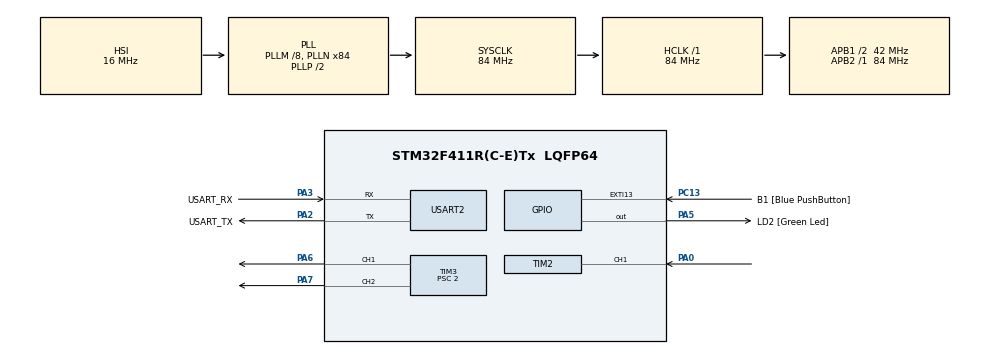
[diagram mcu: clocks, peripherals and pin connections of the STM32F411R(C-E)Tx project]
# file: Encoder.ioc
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Mcu.Family=STM32F4
Mcu.Name=STM32F411R(C-E)Tx
Mcu.Package=LQFP64
NVIC.PriorityGroup=NVIC_PRIORITYGROUP_0
NVIC.TIM1_UP_TIM10_IRQn=true\:0\:0\:false\:false\:true\:true\:true\:true
NVIC.TIM2_IRQn=true\:0\:0\:false\:false\:true\:true\:true\:true
NVIC.USART2_IRQn=true\:0\:0\:false\:false\:true\:true\:true\:true
PA0-WKUP.Signal=S_TIM2_CH1_ETR
PA13.GPIO_Label=TMS
PA13.Mode=Serial_Wire
PA13.Signal=SYS_JTMS-SWDIO
PA14.GPIO_Label=TCK
PA14.Mode=Serial_Wire
PA14.Signal=SYS_JTCK-SWCLK
PA2.GPIO_Label=USART_TX
PA2.Mode=Asynchronous
PA2.Signal=USART2_TX
PA3.GPIO_Label=USART_RX
PA3.Mode=Asynchronous
PA3.Signal=USART2_RX
PA5.GPIO_Label=LD2 [Green Led]
PA5.Signal=GPIO_Output
PA6.Signal=S_TIM3_CH1
PA7.Signal=S_TIM3_CH2
PB3.GPIO_Label=SWO
PB3.Signal=SYS_JTDO-SWO
PC13-ANTI_TAMP.GPIO_Label=B1 [Blue PushButton]
PC13-ANTI_TAMP.GPIO_ModeDefaultEXTI=GPIO_MODE_IT_FALLING
PC13-ANTI_TAMP.Signal=GPXTI13
PC14-OSC32_IN.Mode=LSE-External-Oscillator
PC14-OSC32_IN.Signal=RCC_OSC32_IN
PC15-OSC32_OUT.Mode=LSE-External-Oscillator
PC15-OSC32_OUT.Signal=RCC_OSC32_OUT
PH0\ -\ OSC_IN.Mode=HSE-External-Clock-Source
PH0\ -\ OSC_IN.Signal=RCC_OSC_IN
PH1\ -\ OSC_OUT.Mode=HSE-External-Clock-Source
PH1\ -\ OSC_OUT.Signal=RCC_OSC_OUT
ProjectManager.HeapSize=0x200
ProjectManager.StackSize=0x400
ProjectManager.TargetToolchain=STM32CubeIDE
RCC.48MHZClocksFreq_Value=42000000
RCC.AHBFreq_Value=84000000
RCC.APB1CLKDivider=RCC_HCLK_DIV2
RCC.APB1Freq_Value=42000000
RCC.APB1TimFreq_Value=84000000
RCC.APB2Freq_Value=84000000
RCC.APB2TimFreq_Value=84000000
RCC.CortexFreq_Value=84000000
RCC.FLatency-AdvancedSettings=FLASH_LATENCY_2
RCC.HCLKFreq_Value=84000000
RCC.HSE_VALUE=8000000
RCC.HSI_VALUE=16000000
RCC.PLLM=8
RCC.PLLN=84
RCC.SYSCLKFreq_VALUE=84000000
RCC.SYSCLKSource=RCC_SYSCLKSOURCE_PLLCLK
RCC.VCOOutputFreq_Value=168000000
SH.S_TIM2_CH1_ETR.0=TIM2_CH1,Input_Capture1_from_TI1
SH.S_TIM3_CH1.0=TIM3_CH1,PWM Generation1 CH1
SH.S_TIM3_CH2.0=TIM3_CH2,PWM Generation2 CH2
TIM10.Period=(10000-1)
TIM10.Prescaler=(8400-1)
TIM2.Channel-Input_Capture1_from_TI1=TIM_CHANNEL_1
TIM2.ClockDivision=TIM_CLOCKDIVISION_DIV4
TIM2.ICFilter_CH1=0
TIM2.ICPolarity_CH1=TIM_INPUTCHANNELPOLARITY_RISING
TIM2.Period=4294967295
TIM2.Prescaler=83
TIM3.Channel-PWM\ Generation1\ CH1=TIM_CHANNEL_1
TIM3.Channel-PWM\ Generation2\ CH2=TIM_CHANNEL_2
TIM3.Period=4096
TIM3.Prescaler=2
TIM3.Pulse-PWM\ Generation1\ CH1=0
USART2.VirtualMode=VM_ASYNC
VP_TIM10_VS_ClockSourceINT.Mode=Enable_Timer
VP_TIM2_VS_ClockSourceINT.Mode=Internal
VP_TIM3_VS_ClockSourceINT.Mode=Internal
board=NUCLEO-F411RE

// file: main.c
/* USER CODE BEGIN Header */
/**
 ******************************************************************************
 * @file           : main.c
 * @brief          : Main program body
 ******************************************************************************
 * @attention
 *
 * Copyright (c) 2023 STMicroelectronics.
 * All rights reserved.
 *
 * This software is licensed under terms that can be found in the LICENSE file
 * in the root directory of this software component.
 * If no LICENSE file comes with this software, it is provided AS-IS.
 *
 ******************************************************************************
 */
/* USER CODE END Header */
#include "main.h"
#include "tim.h"
#include "usart.h"
#include "gpio.h"

void SystemClock_Config(void);
/* USER CODE BEGIN PFP */

void setMotor(int dir, int pwmVal);

/* USER CODE END PFP */

/* USER CODE BEGIN 0 */
#define DELAY 100
#define TAMANHO 1000
#define FUROS 6

#define MAX 4096
#define MIN 1900
#define KD 0.005

int contador;
float contador_rpm;

float setpoint = 0000;
float rpm;
float angulo;

float pwm = MIN;

float integral;

int teste;
int controle = 1;
int temp;

uint8_t tela = '4';
uint8_t menu[70] = "\033[2J\r\tMENU \n\r1. Controle \n\r2. Medir angulo \r\n3. Medir rotacoes";
uint8_t comando[1];
uint8_t set[1];
uint8_t key[2];
uint8_t mensagem[TAMANHO];
/* USER CODE END 0 */

int main(void)
{

  /* MCU Configuration--------------------------------------------------------*/

  /* Reset of all peripherals, Initializes the Flash interface and the Systick. */
  HAL_Init();

  /* Configure the system clock */
  SystemClock_Config();

  /* Initialize all configured peripherals */
  MX_GPIO_Init();
  MX_USART2_UART_Init();
  MX_TIM2_Init();
  MX_TIM10_Init();
  MX_TIM3_Init();
  /* USER CODE BEGIN 2 */
	HAL_TIM_IC_Start_IT(&htim2, TIM_CHANNEL_1);
	HAL_TIM_PWM_Start(&htim3, TIM_CHANNEL_1);
	HAL_TIM_PWM_Start(&htim3, TIM_CHANNEL_2);
	HAL_TIM_Base_Start_IT(&htim10);

	HAL_UART_Transmit(&huart2, menu, strlen(menu), DELAY);
	HAL_UART_Receive_IT(&huart2, comando, 1);
  /* USER CODE END 2 */

  /* Infinite loop */
	while (1) {

	}
}

void SystemClock_Config(void)
{
  RCC_OscInitTypeDef RCC_OscInitStruct = {0};
  RCC_ClkInitTypeDef RCC_ClkInitStruct = {0};

  /** Configure the main internal regulator output voltage
  */
  __HAL_RCC_PWR_CLK_ENABLE();
  __HAL_PWR_VOLTAGESCALING_CONFIG(PWR_REGULATOR_VOLTAGE_SCALE1);

  /** Initializes the RCC Oscillators according to the specified parameters
  * in the RCC_OscInitTypeDef structure.
  */
  RCC_OscInitStruct.OscillatorType = RCC_OSCILLATORTYPE_HSI;
  RCC_OscInitStruct.HSIState = RCC_HSI_ON;
  RCC_OscInitStruct.HSICalibrationValue = RCC_HSICALIBRATION_DEFAULT;
  RCC_OscInitStruct.PLL.PLLState = RCC_PLL_ON;
  RCC_OscInitStruct.PLL.PLLSource = RCC_PLLSOURCE_HSI;
  RCC_OscInitStruct.PLL.PLLM = 8;
  RCC_OscInitStruct.PLL.PLLN = 84;
  RCC_OscInitStruct.PLL.PLLP = RCC_PLLP_DIV2;
  RCC_OscInitStruct.PLL.PLLQ = 4;
  if (HAL_RCC_OscConfig(&RCC_OscInitStruct) != HAL_OK)
  {
    Error_Handler();
  }

  /** Initializes the CPU, AHB and APB buses clocks
  */
  RCC_ClkInitStruct.ClockType = RCC_CLOCKTYPE_HCLK|RCC_CLOCKTYPE_SYSCLK
                              |RCC_CLOCKTYPE_PCLK1|RCC_CLOCKTYPE_PCLK2;
  RCC_ClkInitStruct.SYSCLKSource = RCC_SYSCLKSOURCE_PLLCLK;
  RCC_ClkInitStruct.AHBCLKDivider = RCC_SYSCLK_DIV1;
  RCC_ClkInitStruct.APB1CLKDivider = RCC_HCLK_DIV2;
  RCC_ClkInitStruct.APB2CLKDivider = RCC_HCLK_DIV1;

  if (HAL_RCC_ClockConfig(&RCC_ClkInitStruct, FLASH_LATENCY_2) != HAL_OK)
  {
    Error_Handler();
  }
}

/* USER CODE BEGIN 4 */
void HAL_UART_RxCpltCallback(UART_HandleTypeDef *huart) {
	comando[0] = toupper(comando[0]);

	if(teste != 0){
		HAL_UART_Transmit(&huart2, set, 1, DELAY);
		if(teste == 1)temp = 0;
		temp = (temp * 10) + (set[0]-'0');
	}
	if(teste == 4)teste++;

	if (key[0] == '4') {
		comando[0] = key[0];
		key[0] = '0';
	}

	switch (comando[0]) {
	case '1':
		if(tela == '4'){
			snprintf(mensagem, TAMANHO, "\033[2J\r1. Controle do RPM \n\r2. Controle do PWM");
			HAL_UART_Transmit(&huart2, mensagem, strlen(mensagem), DELAY);
			tela = comando[0];
			HAL_UART_Receive_IT(&huart2, comando, 1);
		}
		else if (tela == '1' && teste==0) {
			snprintf(mensagem, TAMANHO, "\033[2J\rSETPOINT = %.0f \n\rRPM = %.2f \n\n\r1. Mudar SetPoint \n\r4. Menu", setpoint, rpm);
			HAL_UART_Transmit(&huart2, mensagem, strlen(mensagem), DELAY);
			controle = 1;
			tela = '5';
			HAL_UART_Receive_IT(&huart2, comando, 1);
		}
		else if (tela == '5' || teste>0){
			if(teste == 0){
				snprintf(mensagem, TAMANHO, "\033[2J\rDigite o novo SetPoint com 4 digitos (ex:0120)\n\n\rNovo SetPoint: ");
				HAL_UART_Transmit(&huart2, mensagem, strlen(mensagem), DELAY);
			}
			if(teste == 5){
				snprintf(mensagem, TAMANHO, "\n\n\rPressione qualquer tecla para voltar");
				HAL_UART_Transmit(&huart2, mensagem, strlen(mensagem), DELAY);
				HAL_UART_Receive_IT(&huart2, set, 1);
				teste = 0;
				setpoint = temp;
			}
			else{
				tela = comando[0];
				HAL_UART_Receive_IT(&huart2, set, 1);
				teste++;
			}
		}
		break;
	case '2':
		if (tela == '1' || tela == '6') {
			snprintf(mensagem, TAMANHO, "\033[2J\rPWM = %.0f \n\rRPM = %.2f \n\n\r1. Aumentar PWM \n\r2. Diminuir PWM \n\r4. Menu", pwm, rpm);
			HAL_UART_Transmit(&huart2, mensagem, strlen(mensagem), DELAY);
			tela = '6';
			controle = 0;
			if (key[0] == '1') {
				pwm += 10;
				key[0] = '0';
			}
			else if (key[0] == '2') {
				pwm -= 10;
				key[0] = '0';
			}
			setMotor(1, pwm);
			HAL_UART_Receive_IT(&huart2, key, 1);
		}
		else if (tela == '4') {
			snprintf(mensagem, TAMANHO,
					"\033[2J\rAngulo = %.2f \n\r4. Menu \n\rR. Reset", angulo);
			HAL_UART_Transmit(&huart2, mensagem, strlen(mensagem), DELAY);

			tela = comando[0];
			HAL_UART_Receive_IT(&huart2, comando, 1);
		}
		break;
	case '3':
		snprintf(mensagem, TAMANHO, "\033[2J\rRotacoes = %i \n\r4. Menu \n\rR. Reset", contador / FUROS);
		HAL_UART_Transmit(&huart2, mensagem, strlen(mensagem), DELAY);

		tela = comando[0];
		HAL_UART_Receive_IT(&huart2, comando, 1);
		break;
	case '4':
		HAL_UART_Transmit(&huart2, menu, strlen(menu), DELAY);
		tela = comando[0];
		HAL_UART_Receive_IT(&huart2, comando, 1);
		break;
	case 'R':
		if(tela == '2'){
			angulo = 0;
			snprintf(mensagem, TAMANHO, "\033[2J\rAngulo = %.2f \n\r4. Menu \n\rR. Reset", angulo);
			HAL_UART_Transmit(&huart2, mensagem, strlen(mensagem), DELAY);
			HAL_UART_Receive_IT(&huart2, comando, 1);
		}
		else if(tela == '3'){
			contador = 0;
			snprintf(mensagem, TAMANHO, "\033[2J\rRotacoes = %i \n\r4. Menu \n\rR. Reset", contador / FUROS);
			HAL_UART_Transmit(&huart2, mensagem, strlen(mensagem), DELAY);
			HAL_UART_Receive_IT(&huart2, comando, 1);
		}
		break;
	default:
		HAL_UART_Receive_IT(&huart2, comando, 1);
		break;
	}
}

void HAL_TIM_PeriodElapsedCallback(TIM_HandleTypeDef *htim) {
	if (htim->Instance == TIM10) {
		rpm = (contador_rpm / FUROS) * 60;
		contador_rpm = 0;

		if(tela == '5'){
			snprintf(mensagem, TAMANHO, "\033[2J\rSETPOINT = %.0f \n\rRPM = %.2f \n\n\r1. Mudar SetPoint \n\r4. Menu", setpoint, rpm);
			HAL_UART_Transmit(&huart2, mensagem, strlen(mensagem), DELAY);
		}
		if(tela == '6'){
			snprintf(mensagem, TAMANHO, "\033[2J\rPWM = %.0f \n\rRPM = %.2f \n\n\r1. Aumentar PWM \n\r2. Diminuir PWM \n\r4. Menu", pwm, rpm);
			HAL_UART_Transmit(&huart2, mensagem, strlen(mensagem), DELAY);
		}
		float KP = 0.1;
		float KI = 0.2;

		if (controle == 1 && setpoint < 200) {
			setMotor(0, 0);
			integral = 0;
		}
		else if(controle == 1){
			float e = setpoint - rpm;

			integral = integral + (e * 1);
			if ((KI * integral) > MAX) {
				integral = MAX / KI;
			}

			float u = (KP * e) + (KI * integral) + MIN;

			int dir = 1;
			if (u < 0) {
				dir = -1;
			}

			pwm = (int) fabs(u);

			if (pwm > MAX) {
				pwm = MAX;
			}
			else if (pwm < MIN) {
				pwm = MIN;
			}

			setMotor(dir, pwm);
		}
		__HAL_TIM_CLEAR_FLAG(&htim10, TIM_FLAG_UPDATE);
	}

}

void HAL_TIM_IC_CaptureCallback(TIM_HandleTypeDef *htim) {
	if (htim->Instance == TIM2) {
		if (htim->Channel == HAL_TIM_ACTIVE_CHANNEL_1) {
			contador_rpm++;
			contador++;

			angulo += 360 / FUROS;
			if (angulo > 360)angulo -= 360;

			if(tela == '2'){
				snprintf(mensagem, TAMANHO, "\033[2J\rAngulo = %.2f \n\r4. Menu \n\rR. Reset", angulo);
				HAL_UART_Transmit(&huart2, mensagem, strlen(mensagem), DELAY);
			}

			if (tela == '3') {
				snprintf(mensagem, TAMANHO, "\033[2J\rRotacoes = %i \n\r4. Menu \n\rR. Reset", contador / FUROS);
				HAL_UART_Transmit(&huart2, mensagem, strlen(mensagem), DELAY);
			}

		}
	}
}

void setMotor(int dir, int pwm){
  if(dir == 1){
	  __HAL_TIM_SET_COMPARE(&htim3, TIM_CHANNEL_1, pwm);
	  __HAL_TIM_SET_COMPARE(&htim3, TIM_CHANNEL_2, 0);
  }
  else if(dir == -1){
	  __HAL_TIM_SET_COMPARE(&htim3, TIM_CHANNEL_1, 0);
	  __HAL_TIM_SET_COMPARE(&htim3, TIM_CHANNEL_2, pwm);
  }
  else{
	  __HAL_TIM_SET_COMPARE(&htim3, TIM_CHANNEL_1, 0);
	  __HAL_TIM_SET_COMPARE(&htim3, TIM_CHANNEL_2, 0);
  }
}

/* USER CODE END 4 */

void Error_Handler(void)
{
	__disable_irq();
	while (1) {
	}
}
